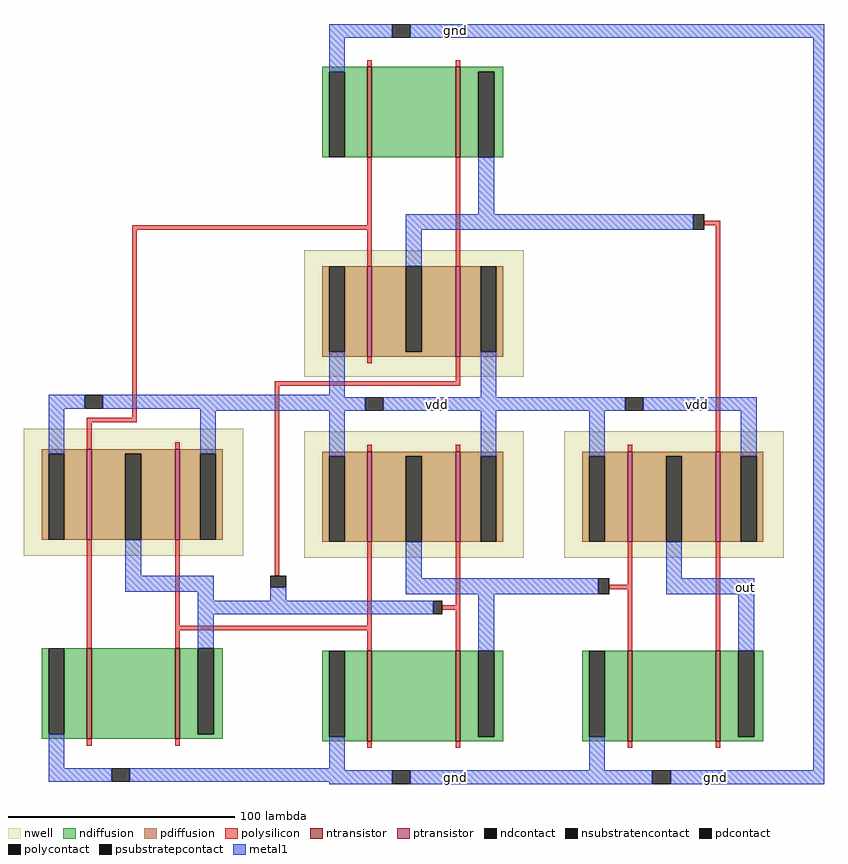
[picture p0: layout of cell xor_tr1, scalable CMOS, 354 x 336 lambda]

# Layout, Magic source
magic
tech scmos
<< nwell >>
rect 124 179 221 235
rect 124 99 221 155
rect 239 99 336 155
<< ntransistor >>
rect 152 276 154 316
rect 191 276 193 316
rect 152 18 154 58
rect 191 18 193 58
rect 267 18 269 58
rect 306 18 308 58
<< ptransistor >>
rect 152 188 154 228
rect 191 188 193 228
rect 152 106 154 146
rect 191 106 193 146
rect 267 106 269 146
rect 306 106 308 146
<< ndiffusion >>
rect 132 314 152 316
rect 132 276 135 314
rect 142 276 152 314
rect 154 276 191 316
rect 193 314 212 316
rect 193 276 201 314
rect 208 276 212 314
rect 132 20 135 58
rect 142 20 152 58
rect 132 18 152 20
rect 154 18 191 58
rect 193 20 201 58
rect 208 20 212 58
rect 193 18 212 20
rect 247 20 250 58
rect 257 20 267 58
rect 247 18 267 20
rect 269 18 306 58
rect 308 20 316 58
rect 323 20 327 58
rect 308 18 327 20
<< pdiffusion >>
rect 132 190 135 228
rect 142 190 152 228
rect 132 188 152 190
rect 154 190 169 228
rect 176 190 191 228
rect 154 188 191 190
rect 193 190 202 228
rect 209 190 212 228
rect 193 188 212 190
rect 132 144 152 146
rect 132 106 135 144
rect 142 106 152 144
rect 154 144 191 146
rect 154 106 169 144
rect 176 106 191 144
rect 193 144 212 146
rect 193 106 202 144
rect 209 106 212 144
rect 247 144 267 146
rect 247 106 250 144
rect 257 106 267 144
rect 269 144 306 146
rect 269 106 284 144
rect 291 106 306 144
rect 308 144 327 146
rect 308 106 317 144
rect 324 106 327 144
<< ndcontact >>
rect 135 276 142 314
rect 201 276 208 314
rect 135 20 142 58
rect 201 20 208 58
rect 250 20 257 58
rect 316 20 323 58
<< pdcontact >>
rect 135 190 142 228
rect 169 190 176 228
rect 202 190 209 228
rect 135 106 142 144
rect 169 106 176 144
rect 202 106 209 144
rect 250 106 257 144
rect 284 106 291 144
rect 317 106 324 144
<< psubstratepcontact >>
rect 163 329 171 335
rect 163 -1 171 5
rect 278 -1 286 5
<< nsubstratencontact >>
rect 151 164 159 170
rect 266 164 274 170
<< polysilicon >>
rect 152 316 154 319
rect 191 316 193 319
rect 152 246 154 276
rect 48 244 154 246
rect 48 161 50 244
rect 152 228 154 244
rect 191 228 193 276
rect 301 246 308 248
rect 152 185 154 188
rect 191 177 193 188
rect 28 159 50 161
rect 111 175 193 177
rect 28 149 30 159
rect 111 91 113 175
rect 152 146 154 149
rect 191 146 193 149
rect 267 146 269 149
rect 306 146 308 246
rect 152 69 154 106
rect 191 78 193 106
rect 267 87 269 106
rect 259 85 269 87
rect 185 76 193 78
rect 69 67 154 69
rect 152 58 154 67
rect 191 58 193 76
rect 267 58 269 85
rect 306 58 308 106
rect 152 15 154 18
rect 191 15 193 18
rect 267 15 269 18
rect 306 15 308 18
<< polycontact >>
rect 296 244 301 251
rect 109 86 116 91
rect 181 74 185 80
rect 254 83 259 90
<< metal1 >>
rect 135 329 163 335
rect 171 329 354 335
rect 135 314 142 329
rect 201 251 208 276
rect 169 244 296 251
rect 169 228 176 244
rect 135 171 142 190
rect 84 170 142 171
rect 202 170 209 190
rect 84 164 151 170
rect 159 164 266 170
rect 274 164 324 170
rect 135 144 142 164
rect 202 144 209 164
rect 250 144 257 164
rect 317 144 324 164
rect 109 80 116 86
rect 169 90 176 106
rect 284 90 291 106
rect 169 83 254 90
rect 284 83 323 90
rect 83 74 181 80
rect 201 58 208 83
rect 316 58 323 83
rect 135 6 142 20
rect 84 5 142 6
rect 250 5 257 20
rect 349 5 354 329
rect 84 0 163 5
rect 135 -1 163 0
rect 171 -1 278 5
rect 286 -1 354 5
use nand_tr  nand_tr_0
transform 1 0 0 0 1 100
box 0 -100 97 71
<< labels >>
rlabel metal1 191 332 191 332 5 gnd
rlabel metal1 191 2 191 2 1 gnd
rlabel metal1 183 167 183 167 5 vdd
rlabel metal1 298 167 298 167 5 vdd
rlabel metal1 306 2 306 2 1 gnd
rlabel metal1 319 86 319 86 1 out
<< end >>

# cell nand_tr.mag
magic
tech scmos
<< nwell >>
rect 0 0 97 56
<< ntransistor >>
rect 28 -81 30 -41
rect 67 -81 69 -41
<< ptransistor >>
rect 28 7 30 47
rect 67 7 69 47
<< ndiffusion >>
rect 8 -79 11 -41
rect 18 -79 28 -41
rect 8 -81 28 -79
rect 30 -81 67 -41
rect 69 -79 77 -41
rect 84 -79 88 -41
rect 69 -81 88 -79
<< pdiffusion >>
rect 8 45 28 47
rect 8 7 11 45
rect 18 7 28 45
rect 30 45 67 47
rect 30 7 45 45
rect 52 7 67 45
rect 69 45 88 47
rect 69 7 78 45
rect 85 7 88 45
<< ndcontact >>
rect 11 -79 18 -41
rect 77 -79 84 -41
<< pdcontact >>
rect 11 7 18 45
rect 45 7 52 45
rect 78 7 85 45
<< psubstratepcontact >>
rect 39 -100 47 -94
<< nsubstratencontact >>
rect 27 65 35 71
<< polysilicon >>
rect 28 47 30 50
rect 67 47 69 50
rect 28 -41 30 7
rect 67 -41 69 7
rect 28 -84 30 -81
rect 67 -84 69 -81
<< metal1 >>
rect 11 65 27 71
rect 35 65 85 71
rect 11 45 18 65
rect 78 45 85 65
rect 45 -9 52 7
rect 45 -16 84 -9
rect 77 -41 84 -16
rect 11 -94 18 -79
rect 11 -100 39 -94
rect 47 -100 85 -94
<< labels >>
rlabel metal1 67 -97 67 -97 1 gnd
rlabel metal1 59 68 59 68 5 vdd
<< end >>
